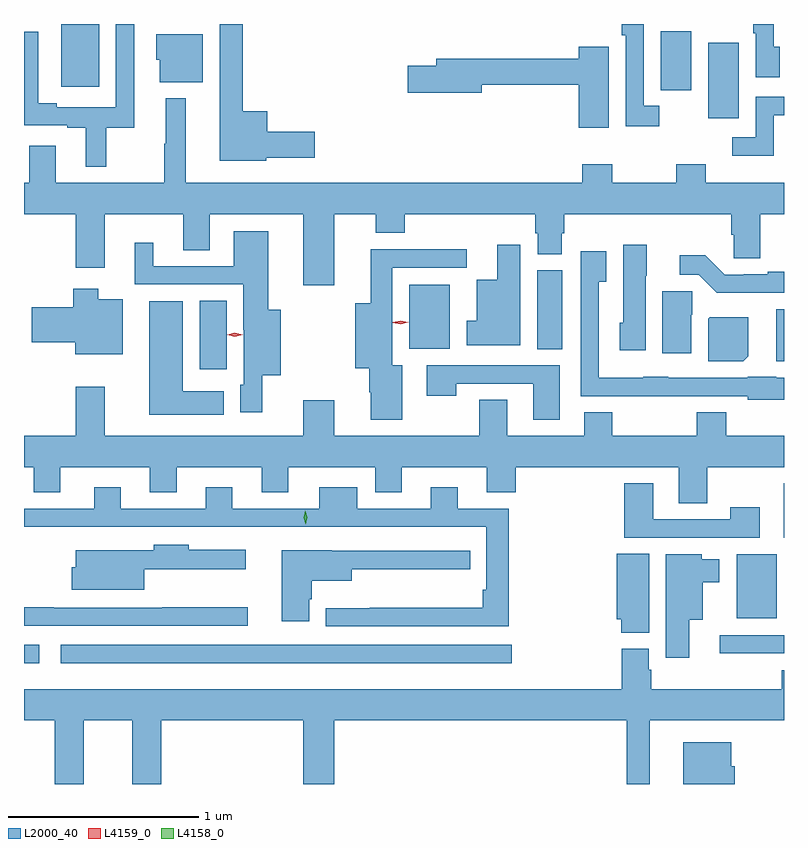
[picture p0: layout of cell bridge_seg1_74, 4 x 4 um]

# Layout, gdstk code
import gdstk
lib = gdstk.Library(unit=1e-6, precision=1e-09)
def R(c, l, rs):  # rectangles x0, y0, x1, y1
    for r in rs: c.add(gdstk.rectangle(r[:2], r[2:], *l))
def P(c, l, *ps):  # polygons
    for p in ps: c.add(gdstk.Polygon(p, *l))
L2000_40 = (2000, 40)
L4158_0 = (4158, 0)
L4159_0 = (4159, 0)

bridge_seg1_74 = lib.new_cell('bridge_seg1_74')
R(bridge_seg1_74, L2000_40, [(559.142,517.4,559.222,517.497), (559.335,517.4,561.709,517.497), (562.803,517.451,563.142,517.548), (562.892,517.637,563.104,517.972), (563.141,518.06,563.142,518.347), (560.066,518.946,560.209,519.308), (563.102,518.99,563.142,519.262), (561.842,519.052,561.976,519.468), (561.17,519.056,561.382,519.391), (562.742,520.268,562.903,520.666), (562.493,520.416,562.654,520.727), (559.337,520.433,559.537,520.764)])
P(bridge_seg1_74, L2000_40, [(562.486,520.335),(562.404,520.335),(562.404,520.764),(562.288,520.764),(562.288,520.706),(562.308,520.706),(562.308,520.227),(562.486,520.227)],
  [(563.119,520.644),(563.088,520.644),(563.088,520.764),(562.98,520.764),(562.98,520.715),(562.992,520.715),(562.992,520.485),(563.119,520.485)],
  [(559.576,520.218),(559.723,520.218),(559.723,520.461),(559.722,520.461),(559.722,520.764),(559.626,520.764),(559.626,520.326),(559.315,520.326),(559.315,520.346),(559.218,520.346),(559.218,520.722),(559.142,520.722),(559.142,520.23),(559.37,520.23),(559.37,520.218),(559.466,520.218),(559.466,520.013),(559.576,520.013)],
  [(560.418,520.061),(560.671,520.061),(560.671,520.196),(560.422,520.196),(560.422,520.306),(560.293,520.306),(560.293,520.764),(560.171,520.764),(560.171,520.043),(560.418,520.043)],
  [(560.083,520.711),(559.838,520.711),(559.838,520.575),(559.856,520.575),(559.856,520.457),(560.083,520.457)],
  [(562.219,520.645),(562.061,520.645),(562.061,520.58),(561.311,520.58),(561.311,520.544),(561.162,520.544),(561.162,520.402),(561.55,520.402),(561.55,520.444),(562.061,520.444),(562.061,520.218),(562.219,520.218)],
  [(563.088,520.284),(563.142,520.284),(563.142,520.38),(562.992,520.38),(562.992,520.167),(562.869,520.167),(562.869,520.07),(563.088,520.07)],
  [(560.776,519.764),(560.993,519.764),(560.993,519.665),(561.146,519.665),(561.146,519.764),(561.833,519.764),(561.833,519.663),(561.845,519.663),(561.845,519.553),(561.973,519.553),(561.973,519.663),(561.986,519.663),(561.986,519.764),(562.865,519.764),(562.865,519.654),(562.878,519.654),(562.878,519.532),(563.017,519.532),(563.017,519.764),(563.142,519.764),(563.142,519.928),(562.731,519.928),(562.731,520.027),(562.576,520.027),(562.576,519.928),(562.239,519.928),(562.239,520.027),(562.079,520.027),(562.079,519.928),(559.993,519.928),(559.993,520.372),(559.889,520.372),(559.889,520.133),(559.879,520.133),(559.879,519.928),(559.309,519.928),(559.309,520.123),(559.169,520.123),(559.169,519.928),(559.142,519.928),(559.142,519.764),(559.415,519.764),(559.415,519.48),(559.567,519.48),(559.567,519.764),(559.979,519.764),(559.979,519.574),(560.119,519.574),(560.119,519.764),(560.612,519.764),(560.612,519.39),(560.776,519.39)],
  [(560.396,518.915),(560.494,518.915),(560.494,519.259),(560.428,519.259),(560.428,519.673),(560.246,519.673),(560.246,519.489),(559.822,519.489),(559.822,519.613),(559.724,519.613),(559.724,519.393),(560.297,519.393),(560.297,519.155),(560.298,519.155),(560.298,518.865),(560.279,518.865),(560.279,518.721),(560.396,518.721)],
  [(562.414,519.438),(562.42,519.438),(562.42,519.601),(562.295,519.601),(562.295,519.192),(562.277,519.192),(562.277,519.048),(562.414,519.048)],
  [(561.754,519.601),(561.632,519.601),(561.632,519.418),(561.524,519.418),(561.524,519.202),(561.473,519.202),(561.473,519.074),(561.754,519.074)],
  [(561.133,518.968),(561.079,518.968),(561.079,519.48),(561.472,519.48),(561.472,519.578),(560.966,519.578),(560.966,519.295),(560.885,519.295),(560.885,518.951),(560.959,518.951),(560.959,518.825),(560.966,518.825),(560.966,518.682),(561.133,518.682)],
  [(563.142,518.902),(563.1,518.902),(563.1,518.908),(562.95,518.908),(562.95,518.901),(562.533,518.901),(562.533,518.908),(562.401,518.908),(562.401,518.902),(562.167,518.902),(562.167,519.407),(562.207,519.407),(562.207,519.568),(562.071,519.568),(562.071,518.805),(562.301,518.805),(562.301,518.804),(562.533,518.804),(562.533,518.805),(562.95,518.805),(562.95,518.786),(563.142,518.786)],
  [(563.142,519.46),(563.057,519.46),(563.057,519.447),(562.93,519.447),(562.93,519.444),(562.83,519.444),(562.728,519.547),(562.593,519.547),(562.593,519.444),(562.692,519.444),(562.787,519.35),(563.142,519.35)],
  [(559.663,519.316),(559.534,519.316),(559.534,519.37),(559.4,519.37),(559.4,519.272),(559.182,519.272),(559.182,519.089),(559.412,519.089),(559.412,519.026),(559.663,519.026)],
  [(562.654,519.234),(562.658,519.234),(562.658,519.357),(562.502,519.357),(562.502,519.03),(562.654,519.03)],
  [(560.194,518.83),(559.978,518.83),(559.978,519.304),(559.802,519.304),(559.802,518.708),(560.194,518.708)],
  [(562.954,519.016),(562.954,519.22),(562.75,519.22),(562.742,519.212),(562.742,518.99),(562.928,518.99)],
  [(561.961,518.967),(561.261,518.967),(561.261,518.808),(561.417,518.808),(561.417,518.871),(561.821,518.871),(561.821,518.682),(561.961,518.682)],
  [(562.684,518.596),(562.239,518.596),(562.239,518.72),(562.091,518.72),(562.091,518.596),(561.685,518.596),(561.685,518.786),(561.538,518.786),(561.538,518.596),(560.776,518.596),(560.776,518.785),(560.612,518.785),(560.612,518.596),(559.567,518.596),(559.567,518.854),(559.415,518.854),(559.415,518.596),(559.142,518.596),(559.142,518.432),(559.193,518.432),(559.193,518.299),(559.333,518.299),(559.333,518.432),(559.805,518.432),(559.805,518.299),(559.945,518.299),(559.945,518.432),(560.393,518.432),(560.393,518.299),(560.533,518.299),(560.533,518.432),(560.99,518.432),(560.99,518.299),(561.13,518.299),(561.13,518.432),(561.578,518.432),(561.578,518.299),(561.731,518.299),(561.731,518.432),(562.589,518.432),(562.589,518.242),(562.737,518.242),(562.737,518.432),(563.142,518.432),(563.142,518.596),(562.839,518.596),(562.839,518.72),(562.684,518.72)],
  [(563.014,518.221),(562.858,518.221),(562.858,518.157),(562.453,518.157),(562.453,518.347),(562.301,518.347),(562.301,518.061),(563.014,518.061)],
  [(561.692,518.214),(561.424,518.214),(561.424,518.326),(561.284,518.326),(561.284,518.214),(560.896,518.214),(560.896,518.326),(560.696,518.326),(560.696,518.214),(560.239,518.214),(560.239,518.326),(560.099,518.326),(560.099,518.214),(559.651,518.214),(559.651,518.326),(559.511,518.326),(559.511,518.214),(559.142,518.214),(559.142,518.118),(561.576,518.118),(561.576,517.786),(561.556,517.786),(561.556,517.691),(560.962,517.691),(560.962,517.69),(560.729,517.69),(560.729,517.593),(561.692,517.593)],
  [(559.774,517.895),(560.308,517.895),(560.308,517.996),(560.01,517.996),(560.01,518.023),(559.826,518.023),(559.826,517.993),(559.415,517.993),(559.415,517.905),(559.394,517.905),(559.394,517.787),(559.774,517.787)],
  [(560.644,517.736),(560.657,517.736),(560.657,517.835),(560.866,517.835),(560.866,517.895),(561.491,517.895),(561.491,517.991),(561.38,517.991),(561.38,517.992),(560.762,517.992),(560.762,517.993),(560.498,517.993),(560.498,517.62),(560.644,517.62)],
  [(562.432,517.976),(562.262,517.976),(562.262,517.632),(562.286,517.632),(562.286,517.561),(562.432,517.561)],
  [(562.642,517.628),(562.714,517.628),(562.714,517.826),(562.801,517.826),(562.801,517.948),(562.71,517.948),(562.71,517.972),(562.52,517.972),(562.52,517.428),(562.642,517.428)],
  [(560.32,517.694),(559.87,517.694),(559.87,517.692),(559.298,517.692),(559.298,517.694),(559.142,517.694),(559.142,517.596),(560.32,517.596)],
  [(559.456,517.1),(559.712,517.1),(559.712,516.764),(559.865,516.764),(559.865,517.1),(560.612,517.1),(560.612,516.764),(560.776,516.764),(560.776,517.1),(562.314,517.1),(562.314,516.764),(562.435,516.764),(562.435,517.1),(563.142,517.1),(563.142,517.363),(563.129,517.363),(563.129,517.264),(562.442,517.264),(562.442,517.365),(562.429,517.365),(562.429,517.476),(562.289,517.476),(562.289,517.264),(559.142,517.264),(559.142,517.1),(559.304,517.1),(559.304,516.764),(559.456,516.764)],
  [(562.882,516.858),(562.864,516.858),(562.864,516.985),(562.613,516.985),(562.613,516.764),(562.882,516.764)])
P(bridge_seg1_74, L4158_0, [(560.625,518.131),(560.625,518.131),(560.614,518.166),(560.622,518.201),(560.622,518.202),(560.622,518.201),(560.634,518.167),(560.625,518.131)])
P(bridge_seg1_74, L4159_0, [(560.252,519.119),(560.212,519.129),(560.212,519.129),(560.212,519.129),(560.252,519.139),(560.293,519.129),(560.293,519.129),(560.293,519.129)],
  [(561.124,519.183),(561.084,519.192),(561.084,519.192),(561.084,519.193),(561.124,519.203),(561.165,519.193),(561.165,519.193),(561.165,519.193)])

lib.write_gds('bridge_seg1_74.gds')
